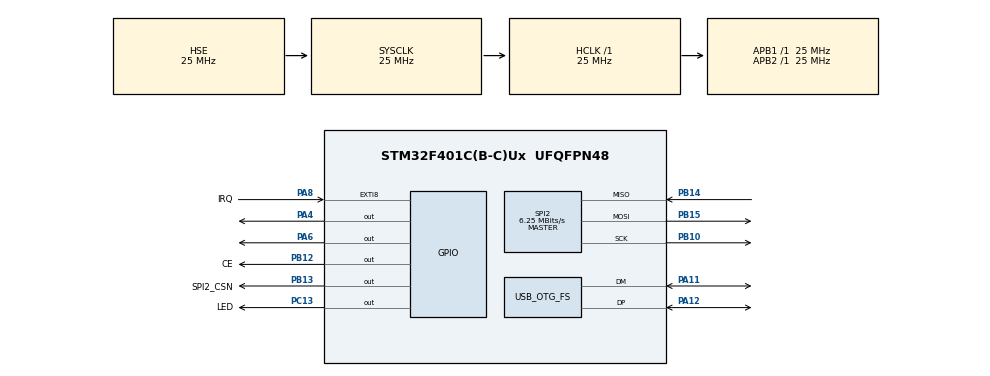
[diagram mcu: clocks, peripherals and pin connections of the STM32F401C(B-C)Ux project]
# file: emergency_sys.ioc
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Mcu.Family=STM32F4
Mcu.Name=STM32F401C(B-C)Ux
Mcu.Package=UFQFPN48
NVIC.EXTI9_5_IRQn=true\:0\:0\:false\:false\:true\:true\:true\:true
NVIC.OTG_FS_IRQn=true\:0\:0\:false\:false\:true\:false\:true\:true
NVIC.PriorityGroup=NVIC_PRIORITYGROUP_4
PA11.Mode=Device_Only
PA11.Signal=USB_OTG_FS_DM
PA12.Mode=Device_Only
PA12.Signal=USB_OTG_FS_DP
PA13.Mode=Serial_Wire
PA13.Signal=SYS_JTMS-SWDIO
PA14.Mode=Serial_Wire
PA14.Signal=SYS_JTCK-SWCLK
PA4.Signal=GPIO_Output
PA6.Signal=GPIO_Output
PA8.GPIO_Label=IRQ
PA8.GPIO_ModeDefaultEXTI=GPIO_MODE_IT_FALLING
PA8.Signal=GPXTI8
PB10.Mode=Full_Duplex_Master
PB10.Signal=SPI2_SCK
PB12.GPIO_Label=CE
PB12.GPIO_Speed=GPIO_SPEED_FREQ_HIGH
PB12.Signal=GPIO_Output
PB13.GPIO_Label=SPI2_CSN
PB13.GPIO_Speed=GPIO_SPEED_FREQ_HIGH
PB13.PinState=GPIO_PIN_SET
PB13.Signal=GPIO_Output
PB14.Mode=Full_Duplex_Master
PB14.Signal=SPI2_MISO
PB15.Mode=Full_Duplex_Master
PB15.Signal=SPI2_MOSI
PC13-ANTI_TAMP.GPIO_Label=LED
PC13-ANTI_TAMP.PinState=GPIO_PIN_SET
PC13-ANTI_TAMP.Signal=GPIO_Output
PH0\ -\ OSC_IN.Mode=HSE-External-Oscillator
PH0\ -\ OSC_IN.Signal=RCC_OSC_IN
PH1\ -\ OSC_OUT.Mode=HSE-External-Oscillator
PH1\ -\ OSC_OUT.Signal=RCC_OSC_OUT
ProjectManager.HeapSize=0x200
ProjectManager.StackSize=0x400
ProjectManager.TargetToolchain=STM32CubeIDE
RCC.48MHZClocksFreq_Value=48000000
RCC.AHBFreq_Value=25000000
RCC.APB1Freq_Value=25000000
RCC.APB1TimFreq_Value=25000000
RCC.APB2Freq_Value=25000000
RCC.APB2TimFreq_Value=25000000
RCC.CortexFreq_Value=25000000
RCC.HCLKFreq_Value=25000000
RCC.HSE_VALUE=25000000
RCC.HSI_VALUE=16000000
RCC.LSE_VALUE=32768
RCC.PLLM=15
RCC.PLLN=144
RCC.PLLQ=5
RCC.SYSCLKFreq_VALUE=25000000
RCC.SYSCLKSource=RCC_SYSCLKSOURCE_HSE
RCC.VCOOutputFreq_Value=240000000
SPI2.BaudRatePrescaler=SPI_BAUDRATEPRESCALER_4
SPI2.CalculateBaudRate=6.25 MBits/s
SPI2.Direction=SPI_DIRECTION_2LINES
SPI2.Mode=SPI_MODE_MASTER
SPI2.VirtualType=VM_MASTER
USB_DEVICE.CLASS_NAME_FS=CDC
USB_DEVICE.VirtualMode=Cdc
USB_DEVICE.VirtualModeFS=Cdc_FS
USB_OTG_FS.VirtualMode=Device_Only
VP_USB_DEVICE_VS_USB_DEVICE_CDC_FS.Mode=CDC_FS
board=custom

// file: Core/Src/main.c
/* USER CODE BEGIN Header */
/**
  ******************************************************************************
  * @file           : main.c
  * @brief          : Main program body
  ******************************************************************************
  * @attention
  *
  * Copyright (c) 2023 STMicroelectronics.
  * All rights reserved.
  *
  * This software is licensed under terms that can be found in the LICENSE file
  * in the root directory of this software component.
  * If no LICENSE file comes with this software, it is provided AS-IS.
  *
  ******************************************************************************
  */
/* USER CODE END Header */
#include "main.h"
#include "spi.h"
#include "usb_device.h"
#include "gpio.h"

/* USER CODE BEGIN Includes */
#include "nrf24l01p.h"
/* USER CODE END Includes */

/* USER CODE BEGIN PM */

void HAL_GPIO_EXTI_Callback(uint16_t GPIO_Pin);

/* USER CODE END PM */

/* USER CODE BEGIN PV */

uint8_t rx_data[NRF24L01P_PAYLOAD_LENGTH] = { 0 };

/* USER CODE END PV */

void SystemClock_Config(void);

/* USER CODE BEGIN 0 */
uint8_t buffer[64];
/* USER CODE END 0 */

int main(void)
{

  /* MCU Configuration--------------------------------------------------------*/

  /* Reset of all peripherals, Initializes the Flash interface and the Systick. */
  HAL_Init();

  /* Configure the system clock */
  SystemClock_Config();

  /* Initialize all configured peripherals */
  MX_GPIO_Init();
  MX_SPI2_Init();
  MX_USB_DEVICE_Init();
  /* USER CODE BEGIN 2 */
  HAL_GPIO_WritePin(GPIOA, GPIO_PIN_6, GPIO_PIN_SET);
  HAL_GPIO_WritePin(GPIOC ,GPIO_PIN_13,GPIO_PIN_RESET);
  nrf24l01p_rx_init(2500, _250kbps);

  /* USER CODE END 2 */

  /* Infinite loop */
  /* USER CODE BEGIN WHILE */

  while (1)
  {

	  if(rx_data[0]==1){
		  HAL_GPIO_WritePin(GPIOA, GPIO_PIN_6, GPIO_PIN_RESET);
	  	  HAL_GPIO_WritePin(GPIOC, GPIO_PIN_13, GPIO_PIN_SET);
	  }
	  else{
		  HAL_GPIO_WritePin(GPIOA, GPIO_PIN_6, GPIO_PIN_SET);
		  HAL_GPIO_WritePin(GPIOC, GPIO_PIN_13, GPIO_PIN_RESET);
	  }

	  if(buffer[2]=='1'){
	  	  HAL_GPIO_TogglePin(GPIOA, GPIO_PIN_4);
	  	  HAL_GPIO_TogglePin(GPIOC, GPIO_PIN_13);
	  }else{
	      HAL_GPIO_WritePin(GPIOA, GPIO_PIN_4, GPIO_PIN_SET);

	  }
	  HAL_Delay(500);
    /* USER CODE END WHILE */

  }
}
void SystemClock_Config(void)
{
  RCC_OscInitTypeDef RCC_OscInitStruct = {0};
  RCC_ClkInitTypeDef RCC_ClkInitStruct = {0};

  /** Configure the main internal regulator output voltage
  */
  __HAL_RCC_PWR_CLK_ENABLE();
  __HAL_PWR_VOLTAGESCALING_CONFIG(PWR_REGULATOR_VOLTAGE_SCALE2);

  /** Initializes the RCC Oscillators according to the specified parameters
  * in the RCC_OscInitTypeDef structure.
  */
  RCC_OscInitStruct.OscillatorType = RCC_OSCILLATORTYPE_HSE;
  RCC_OscInitStruct.HSEState = RCC_HSE_ON;
  RCC_OscInitStruct.PLL.PLLState = RCC_PLL_ON;
  RCC_OscInitStruct.PLL.PLLSource = RCC_PLLSOURCE_HSE;
  RCC_OscInitStruct.PLL.PLLM = 15;
  RCC_OscInitStruct.PLL.PLLN = 144;
  RCC_OscInitStruct.PLL.PLLP = RCC_PLLP_DIV2;
  RCC_OscInitStruct.PLL.PLLQ = 5;
  if (HAL_RCC_OscConfig(&RCC_OscInitStruct) != HAL_OK)
  {
    Error_Handler();
  }

  /** Initializes the CPU, AHB and APB buses clocks
  */
  RCC_ClkInitStruct.ClockType = RCC_CLOCKTYPE_HCLK|RCC_CLOCKTYPE_SYSCLK
                              |RCC_CLOCKTYPE_PCLK1|RCC_CLOCKTYPE_PCLK2;
  RCC_ClkInitStruct.SYSCLKSource = RCC_SYSCLKSOURCE_HSE;
  RCC_ClkInitStruct.AHBCLKDivider = RCC_SYSCLK_DIV1;
  RCC_ClkInitStruct.APB1CLKDivider = RCC_HCLK_DIV1;
  RCC_ClkInitStruct.APB2CLKDivider = RCC_HCLK_DIV1;

  if (HAL_RCC_ClockConfig(&RCC_ClkInitStruct, FLASH_LATENCY_0) != HAL_OK)
  {
    Error_Handler();
  }
}

/* USER CODE BEGIN 4 */

void HAL_GPIO_EXTI_Callback(uint16_t GPIO_Pin)
{
	if(GPIO_Pin == NRF24L01P_IRQ_PIN_NUMBER)
		nrf24l01p_rx_receive(rx_data); // read data when data ready flag is set
}

/* USER CODE END 4 */

void Error_Handler(void)
{
  __disable_irq();
  while (1)
  {
  }
}
